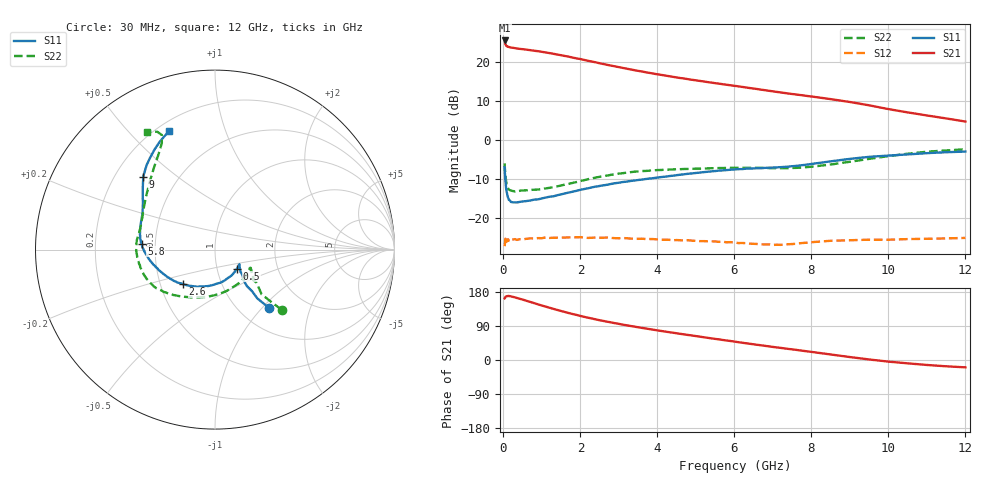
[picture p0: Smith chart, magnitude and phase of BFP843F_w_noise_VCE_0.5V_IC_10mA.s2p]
! Infineon Technologies  Discrete & RF Semiconductors
! BFP843F
! VCE =  0.5 V,  IC =  10 mA
! Common Emitter S-Parameters:  Aug 2013
# GHz  S  MA  R  50
!  f  S11  S21  S12  S22
! GHz  MAG  ANG  MAG  ANG  MAG  ANG  MAG  ANG
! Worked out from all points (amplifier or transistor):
!   103 points, 30 MHz to 12 GHz, reference 50 ohm
!   highest |S21| = 25.4 dB at 30 MHz (marker M1)
!   |S21| within 3 dB of that: start of sweep to 1.052 GHz
!   unconditionally stable (mu >= 1): 188.8 MHz to 555.7 MHz; 3.274 GHz to end of sweep
!   at 400 MHz: K = 1.01, MAG = 23.9 dB, |S12| = -25.5 dB
!   at 3.7 GHz: K = 1.04, MAG = 20.1 dB, |S12| = -25.4 dB
!   at 12 GHz: K = 1.44, MAG = 10.9 dB, |S12| = -25.1 dB
!   lowest NFmin = 0.79 dB at 450 MHz
!   S11 on the Smith chart (normalised r, x): 30 MHz: 1.35, -1.10; 500 MHz: 1.25, -0.27; 2.6 GHz: 0.65, -0.27; 5.8 GHz: 0.42, +0.03; 9 GHz: 0.32, +0.38; 12 GHz: 0.25, +0.66
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0.03  0.4451 -47.1  18.66 162.6  0.0436 28.6  0.4999 -42.1
0.04  0.3596 -49.1  17.49 163.6  0.0477 24.4  0.4131 -43.1
0.05  0.3103 -48.3  16.73 166.2  0.0543 17.1  0.3594 -43.8
0.06  0.2702 -48.8  16.39 167.2  0.0484 20.7  0.3238 -41.1
0.1  0.1965 -41.5  15.58 168.6  0.0528 13.8  0.2482 -34.8
0.13  0.1774 -37.7  15.45 169.0  0.0529 6.5  0.2336 -30.8
0.5  0.1625 -40.5  14.43 159.4  0.0532 3.3  0.2246 -37.8
0.9  0.1732 -64.5  13.6 146.7  0.0553 2.4  0.2311 -62.0
1.3  0.1894 -86.4  12.58 134.8  0.0559 1.3  0.2482 -85.3
1.7  0.2117 -105.0  11.56 123.8  0.0565 0.2  0.2735 -104.6
2.1  0.2347 -119.3  10.51 113.8  0.0561 -1.3  0.3047 -119.7
2.6  0.262 -132.7  9.317 103.0  0.056 -2.5  0.3442 -132.8
3.2  0.292 -145.1  8.131 91.5  0.0551 -3.9  0.3803 -143.9
4.1  0.3339 -160.2  6.764 76.6  0.0528 -5.1  0.4112 -155.7
4.7  0.363 -169.3  6.079 67.4  0.0514 -5.3  0.4234 -163.1
5.8  0.4102 175.4  5.062 51.4  0.0488 -4.3  0.4369 -176.9
6.1  0.4213 171.5  4.834 47.1  0.0478 -3.4  0.4385 179.2
7  0.4413 158.4  4.173 34.5  0.0452 -0.3  0.4332 167.6
8.5  0.5305 139.3  3.316 14.6  0.0511 5.9  0.4828 143.0
9  0.5705 134.5  3.045 7.8  0.0519 5.9  0.5237 134.0
10.5  0.6505 121.3  2.243 -8.8  0.0537 6.5  0.6637 116.5
12  0.7072 111.1  1.713 -19.4  0.0556 11.7  0.7576 119.8
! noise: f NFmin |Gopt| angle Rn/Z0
0.45  0.79  0.04  18  0.02
0.9  0.8  0.04  35  0.03
1.5  0.85  0.05  55  0.04
1.9  0.89  0.05  77  0.04
2.4  0.93  0.06  96  0.05
3.5  0.99  0.08  129  0.1
5.5  1.09  0.16  -176  0.17
10  1.66  0.36  -114  0.28
